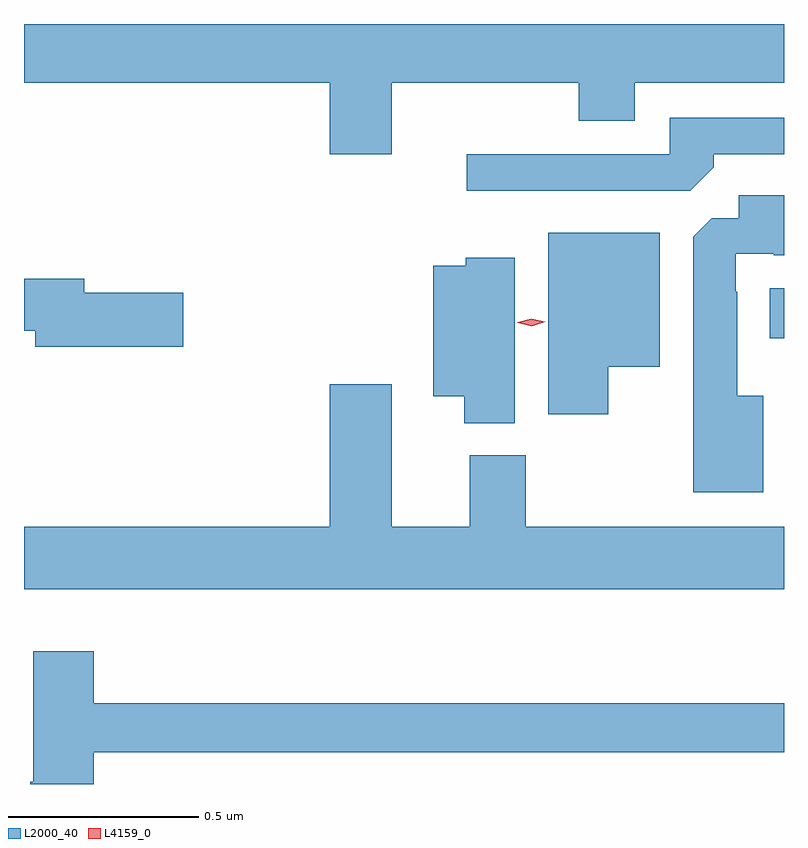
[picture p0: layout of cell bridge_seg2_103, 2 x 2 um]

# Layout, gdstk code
import gdstk
lib = gdstk.Library(unit=1e-6, precision=1e-09)
def R(c, l, rs):  # rectangles x0, y0, x1, y1
    for r in rs: c.add(gdstk.rectangle(r[:2], r[2:], *l))
def P(c, l, *ps):  # polygons
    for p in ps: c.add(gdstk.Polygon(p, *l))
L2000_40 = (2000, 40)
L4159_0 = (4159, 0)

bridge_seg2_103 = lib.new_cell('bridge_seg2_103')
R(bridge_seg2_103, L2000_40, [(549.782,664.28,549.82,664.411)])
P(bridge_seg2_103, L2000_40, [(548.788,664.952),(549.28,664.952),(549.28,664.853),(549.427,664.853),(549.427,664.952),(549.82,664.952),(549.82,665.107),(547.82,665.107),(547.82,664.952),(548.624,664.952),(548.624,664.764),(548.788,664.764)],
  [(549.635,664.73),(549.635,664.764),(549.82,664.764),(549.82,664.86),(549.519,664.86),(549.519,664.764),(548.985,664.764),(548.985,664.668),(549.573,664.668)],
  [(549.766,664.129),(549.697,664.129),(549.697,664.403),(549.693,664.403),(549.693,664.503),(549.793,664.503),(549.793,664.499),(549.82,664.499),(549.82,664.657),(549.701,664.657),(549.701,664.596),(549.63,664.596),(549.581,664.547),(549.581,663.875),(549.766,663.875)],
  [(549.358,664.205),(549.493,664.205),(549.493,664.558),(549.2,664.558),(549.2,664.08),(549.358,664.08)],
  [(549.112,664.492),(548.982,664.492),(548.982,664.471),(548.897,664.471),(548.897,664.127),(548.978,664.127),(548.978,664.057),(549.112,664.057)],
  [(548.239,664.4),(547.978,664.4),(547.978,664.436),(547.82,664.436),(547.82,664.3),(547.85,664.3),(547.85,664.258),(548.239,664.258)],
  [(549.82,663.784),(549.141,663.784),(549.141,663.972),(548.993,663.972),(548.993,663.784),(548.788,663.784),(548.788,664.159),(548.624,664.159),(548.624,663.784),(547.82,663.784),(547.82,663.62),(549.82,663.62)],
  [(548.003,663.19),(549.82,663.19),(549.82,663.319),(548.003,663.319),(548.003,663.457),(547.844,663.457),(547.844,663.113),(547.837,663.113),(547.837,663.107),(548.003,663.107)])
P(bridge_seg2_103, L4159_0, [(549.156,664.312),(549.119,664.321),(549.118,664.322),(549.119,664.322),(549.155,664.332),(549.192,664.323),(549.192,664.323),(549.192,664.323)])

lib.write_gds('bridge_seg2_103.gds')
